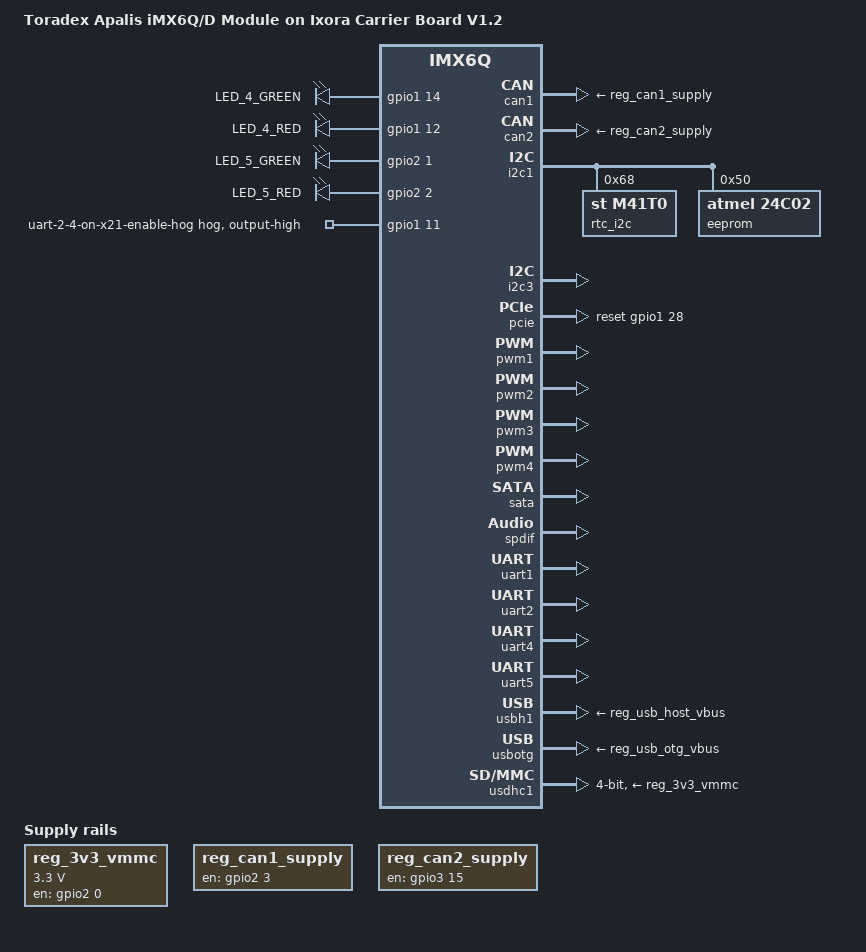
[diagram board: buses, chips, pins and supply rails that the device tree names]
// SPDX-License-Identifier: GPL-2.0-or-later OR MIT
/*
 * Copyright 2014-2022 Toradex
 * Copyright 2012 Freescale Semiconductor, Inc.
 * Copyright 2011 Linaro Ltd.
 */

/dts-v1/;

#include <dt-bindings/gpio/gpio.h>
#include <dt-bindings/input/input.h>
#include <dt-bindings/interrupt-controller/irq.h>
#include "imx6q.dtsi"
#include "imx6qdl-apalis.dtsi"

/ {
	model = "Toradex Apalis iMX6Q/D Module on Ixora Carrier Board V1.2";
	compatible = "toradex,apalis_imx6q-ixora-v1.2", "toradex,apalis_imx6q",
		     "fsl,imx6q";

	aliases {
		i2c0 = &i2c1;
		i2c1 = &i2c3;
		i2c2 = &i2c2;
		rtc0 = &rtc_i2c;
		rtc1 = &snvs_rtc;
	};

	chosen {
		stdout-path = "serial0:115200n8";
	};

	leds {
		compatible = "gpio-leds";

		pinctrl-names = "default";
		pinctrl-0 = <&pinctrl_leds_ixora>;

		led4-green {
			gpios = <&gpio1 14 GPIO_ACTIVE_HIGH>;
			label = "LED_4_GREEN";
		};

		led4-red {
			gpios = <&gpio1 12 GPIO_ACTIVE_HIGH>;
			label = "LED_4_RED";
		};

		led5-green {
			gpios = <&gpio2 1 GPIO_ACTIVE_HIGH>;
			label = "LED_5_GREEN";
		};

		led5-red {
			gpios = <&gpio2 2 GPIO_ACTIVE_HIGH>;
			label = "LED_5_RED";
		};
	};

	reg_3v3_vmmc: regulator-3v3-vmmc {
		compatible = "regulator-fixed";
		enable-active-high;
		gpio = <&gpio2 0 GPIO_ACTIVE_HIGH>;
		pinctrl-names = "default";
		pinctrl-0 = <&pinctrl_enable_3v3_vmmc>;
		regulator-max-microvolt = <3300000>;
		regulator-min-microvolt = <3300000>;
		regulator-name = "3v3_vmmc";
		startup-delay-us = <100>;
	};

	reg_can1_supply: regulator-can1-supply {
		compatible = "regulator-fixed";
		enable-active-high;
		gpio = <&gpio2 3 GPIO_ACTIVE_HIGH>;
		pinctrl-names = "default";
		pinctrl-0 = <&pinctrl_enable_can1_power>;
		regulator-name = "can1_supply";
	};

	reg_can2_supply: regulator-can2-supply {
		compatible = "regulator-fixed";
		enable-active-high;
		gpio = <&gpio3 15 GPIO_ACTIVE_HIGH>;
		pinctrl-names = "default";
		pinctrl-0 = <&pinctrl_enable_can2_power>;
		regulator-name = "can2_supply";
	};
};

&can1 {
	xceiver-supply = <&reg_can1_supply>;
	status = "okay";
};

&can2 {
	xceiver-supply = <&reg_can2_supply>;
	status = "okay";
};

&gpio1 {
	pinctrl-names = "default";
	pinctrl-0 = <&pinctrl_uart24_forceoff>;

	/*
	 * uart-2-4-on-x21-enable-hog enables the UART transceiver for Apalis
	 * UART2 and UART3. If one wants to disable the transceiver force
	 * the GPIO to output-low, if one wants to control the transceiver
	 * from user space delete the hog node.
	 */
	uart-2-4-on-x21-enable-hog {
		gpio-hog;
		gpios = <11 GPIO_ACTIVE_HIGH>; /* MXM3 180 */
		output-high;
	};
};

/* I2C1_SDA/SCL on MXM3 209/211 (e.g. RTC on carrier board) */
&i2c1 {
	status = "okay";

	/* M41T0M6 real time clock on carrier board */
	rtc_i2c: rtc@68 {
		compatible = "st,m41t0";
		reg = <0x68>;
	};

	eeprom: eeprom@50 {
		compatible = "atmel,24c02";
		reg = <0x50>;
		pagesize = <16>;
	};
};

/*
 * I2C3_SDA/SCL (CAM) on MXM3 pin 201/203 (e.g. camera sensor on carrier
 * board)
 */
&i2c3 {
	status = "okay";
};

&pcie {
	pinctrl-names = "default";
	pinctrl-0 = <&pinctrl_reset_moci>;
	/* active-high meaning opposite of regular PERST# active-low polarity */
	reset-gpio = <&gpio1 28 GPIO_ACTIVE_HIGH>;
	reset-gpio-active-high;
	status = "okay";
};

&pwm1 {
	status = "okay";
};

&pwm2 {
	status = "okay";
};

&pwm3 {
	status = "okay";
};

&pwm4 {
	status = "okay";
};

&reg_usb_host_vbus {
	status = "okay";
};

&reg_usb_otg_vbus {
	status = "okay";
};

&sata {
	status = "okay";
};

&sound_spdif {
	status = "okay";
};

&spdif {
	status = "okay";
};

&uart1 {
	status = "okay";
};

&uart2 {
	status = "okay";
};

&uart4 {
	status = "okay";
};

&uart5 {
	status = "okay";
};

&usbh1 {
	disable-over-current;
	vbus-supply = <&reg_usb_host_vbus>;
	status = "okay";
};

&usbotg {
	disable-over-current;
	vbus-supply = <&reg_usb_otg_vbus>;
	status = "okay";
};

/* MMC1 */
&usdhc1 {
	pinctrl-names = "default", "sleep";
	pinctrl-0 = <&pinctrl_usdhc1_4bit &pinctrl_mmc_cd>;
	pinctrl-1 = <&pinctrl_usdhc1_4bit_sleep &pinctrl_mmc_cd_sleep>;
	bus-width = <4>;
	cap-power-off-card;
	vmmc-supply = <&reg_3v3_vmmc>;
	status = "okay";
};

&iomuxc {
	pinctrl_enable_3v3_vmmc: enable3v3vmmcgrp {
		fsl,pins = <
			MX6QDL_PAD_NANDF_D0__GPIO2_IO00 0x1b0b0
		>;
	};

	pinctrl_enable_can1_power: enablecan1powergrp {
		fsl,pins = <
			MX6QDL_PAD_NANDF_D3__GPIO2_IO03 0x1b0b0
		>;
	};

	pinctrl_enable_can2_power: enablecan2powergrp {
		fsl,pins = <
			MX6QDL_PAD_EIM_DA15__GPIO3_IO15 0x1b0b0
		>;
	};

	pinctrl_uart24_forceoff: uart24forceoffgrp {
		fsl,pins = <
			MX6QDL_PAD_SD2_CMD__GPIO1_IO11 0x1b0b0
		>;
	};

	pinctrl_leds_ixora: ledsixoragrp {
		fsl,pins = <
			MX6QDL_PAD_SD2_DAT1__GPIO1_IO14 0x1b0b0
			MX6QDL_PAD_SD2_DAT3__GPIO1_IO12 0x1b0b0
			MX6QDL_PAD_NANDF_D1__GPIO2_IO01 0x1b0b0
			MX6QDL_PAD_NANDF_D2__GPIO2_IO02 0x1b0b0
		>;
	};

	pinctrl_mmc_cd_sleep: mmccdslpgrp {
		fsl,pins = <
			 /* MMC1 CD */
			MX6QDL_PAD_DI0_PIN4__GPIO4_IO20 0x0
		>;
	};

	pinctrl_usdhc1_4bit_sleep: usdhc1-4bitslpgrp {
		fsl,pins = <
			MX6QDL_PAD_SD1_CMD__SD1_CMD     0x3000
			MX6QDL_PAD_SD1_CLK__SD1_CLK     0x3000
			MX6QDL_PAD_SD1_DAT0__SD1_DATA0  0x3000
			MX6QDL_PAD_SD1_DAT1__SD1_DATA1  0x3000
			MX6QDL_PAD_SD1_DAT2__SD1_DATA2  0x3000
			MX6QDL_PAD_SD1_DAT3__SD1_DATA3  0x3000
		>;
	};
};
